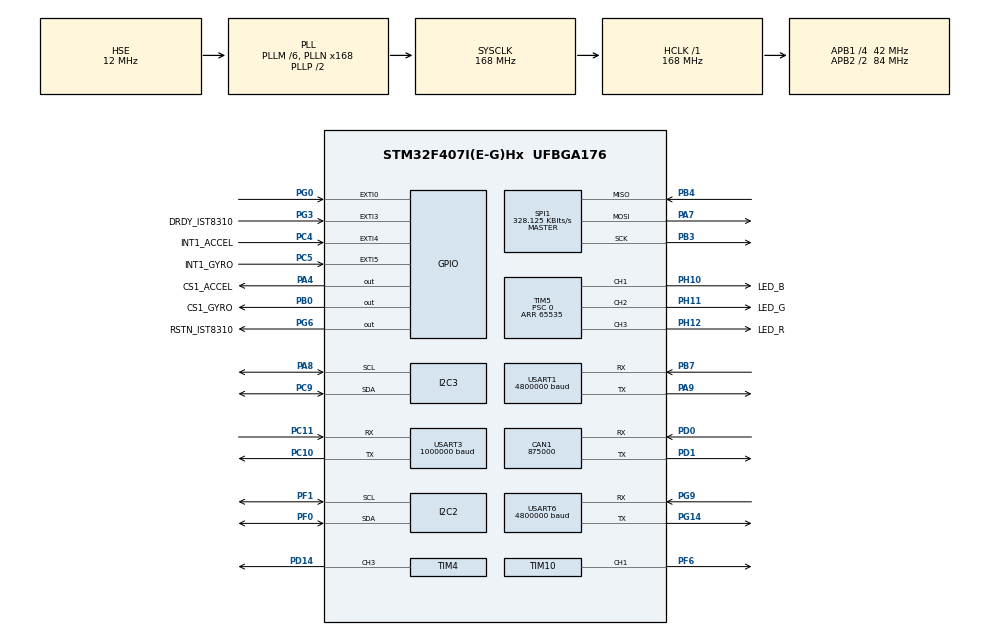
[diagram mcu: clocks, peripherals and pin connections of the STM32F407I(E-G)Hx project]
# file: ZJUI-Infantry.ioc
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CAN1.CalculateBaudRate=875000
CAN1.CalculateTimeBit=1142
CAN1.CalculateTimeQuantum=380.95238095238096
Dma.Request0=SPI1_RX
Dma.Request1=SPI1_TX
Dma.Request2=USART1_TX
Dma.Request3=USART1_RX
Dma.Request4=USART6_TX
Dma.Request5=USART6_RX
Dma.Request6=USART3_RX
Dma.SPI1_RX.0.Direction=DMA_PERIPH_TO_MEMORY
Dma.SPI1_RX.0.FIFOMode=DMA_FIFOMODE_DISABLE
Dma.SPI1_RX.0.Instance=DMA2_Stream2
Dma.SPI1_RX.0.MemDataAlignment=DMA_MDATAALIGN_BYTE
Dma.SPI1_RX.0.MemInc=DMA_MINC_ENABLE
Dma.SPI1_RX.0.Mode=DMA_NORMAL
Dma.SPI1_RX.0.PeriphDataAlignment=DMA_PDATAALIGN_BYTE
Dma.SPI1_RX.0.PeriphInc=DMA_PINC_DISABLE
Dma.SPI1_RX.0.Priority=DMA_PRIORITY_VERY_HIGH
Dma.SPI1_TX.1.Direction=DMA_MEMORY_TO_PERIPH
Dma.SPI1_TX.1.FIFOMode=DMA_FIFOMODE_DISABLE
Dma.SPI1_TX.1.Instance=DMA2_Stream3
Dma.SPI1_TX.1.MemDataAlignment=DMA_MDATAALIGN_BYTE
Dma.SPI1_TX.1.MemInc=DMA_MINC_ENABLE
Dma.SPI1_TX.1.Mode=DMA_NORMAL
Dma.SPI1_TX.1.PeriphDataAlignment=DMA_PDATAALIGN_BYTE
Dma.SPI1_TX.1.PeriphInc=DMA_PINC_DISABLE
Dma.SPI1_TX.1.Priority=DMA_PRIORITY_HIGH
Dma.USART1_RX.3.Direction=DMA_PERIPH_TO_MEMORY
Dma.USART1_RX.3.FIFOMode=DMA_FIFOMODE_DISABLE
Dma.USART1_RX.3.Instance=DMA2_Stream5
Dma.USART1_RX.3.MemDataAlignment=DMA_MDATAALIGN_BYTE
Dma.USART1_RX.3.MemInc=DMA_MINC_ENABLE
Dma.USART1_RX.3.Mode=DMA_NORMAL
Dma.USART1_RX.3.PeriphDataAlignment=DMA_PDATAALIGN_BYTE
Dma.USART1_RX.3.PeriphInc=DMA_PINC_DISABLE
Dma.USART1_RX.3.Priority=DMA_PRIORITY_VERY_HIGH
Dma.USART1_TX.2.Direction=DMA_MEMORY_TO_PERIPH
Dma.USART1_TX.2.FIFOMode=DMA_FIFOMODE_DISABLE
Dma.USART1_TX.2.Instance=DMA2_Stream7
Dma.USART1_TX.2.MemDataAlignment=DMA_MDATAALIGN_BYTE
Dma.USART1_TX.2.MemInc=DMA_MINC_ENABLE
Dma.USART1_TX.2.Mode=DMA_NORMAL
Dma.USART1_TX.2.PeriphDataAlignment=DMA_PDATAALIGN_BYTE
Dma.USART1_TX.2.PeriphInc=DMA_PINC_DISABLE
Dma.USART1_TX.2.Priority=DMA_PRIORITY_VERY_HIGH
Dma.USART3_RX.6.Direction=DMA_PERIPH_TO_MEMORY
Dma.USART3_RX.6.FIFOMode=DMA_FIFOMODE_DISABLE
Dma.USART3_RX.6.Instance=DMA1_Stream1
Dma.USART3_RX.6.MemDataAlignment=DMA_MDATAALIGN_BYTE
Dma.USART3_RX.6.MemInc=DMA_MINC_ENABLE
Dma.USART3_RX.6.Mode=DMA_NORMAL
Dma.USART3_RX.6.PeriphDataAlignment=DMA_PDATAALIGN_BYTE
Dma.USART3_RX.6.PeriphInc=DMA_PINC_DISABLE
Dma.USART3_RX.6.Priority=DMA_PRIORITY_VERY_HIGH
Dma.USART6_RX.5.Direction=DMA_PERIPH_TO_MEMORY
Dma.USART6_RX.5.FIFOMode=DMA_FIFOMODE_DISABLE
Dma.USART6_RX.5.Instance=DMA2_Stream1
Dma.USART6_RX.5.MemDataAlignment=DMA_MDATAALIGN_BYTE
Dma.USART6_RX.5.MemInc=DMA_MINC_ENABLE
Dma.USART6_RX.5.Mode=DMA_NORMAL
Dma.USART6_RX.5.PeriphDataAlignment=DMA_PDATAALIGN_BYTE
Dma.USART6_RX.5.PeriphInc=DMA_PINC_DISABLE
Dma.USART6_RX.5.Priority=DMA_PRIORITY_VERY_HIGH
Dma.USART6_TX.4.Direction=DMA_MEMORY_TO_PERIPH
Dma.USART6_TX.4.FIFOMode=DMA_FIFOMODE_DISABLE
Dma.USART6_TX.4.Instance=DMA2_Stream6
Dma.USART6_TX.4.MemDataAlignment=DMA_MDATAALIGN_BYTE
Dma.USART6_TX.4.MemInc=DMA_MINC_ENABLE
Dma.USART6_TX.4.Mode=DMA_NORMAL
Dma.USART6_TX.4.PeriphDataAlignment=DMA_PDATAALIGN_BYTE
Dma.USART6_TX.4.PeriphInc=DMA_PINC_DISABLE
Dma.USART6_TX.4.Priority=DMA_PRIORITY_VERY_HIGH
FREERTOS.INCLUDE_eTaskGetState=1
FREERTOS.INCLUDE_pcTaskGetTaskName=1
FREERTOS.INCLUDE_uxTaskGetStackHighWaterMark=1
FREERTOS.INCLUDE_vTaskCleanUpResources=1
FREERTOS.INCLUDE_vTaskDelayUntil=1
FREERTOS.INCLUDE_xEventGroupSetBitFromISR=1
FREERTOS.INCLUDE_xQueueGetMutexHolder=1
FREERTOS.INCLUDE_xSemaphoreGetMutexHolder=1
FREERTOS.INCLUDE_xTaskAbortDelay=1
FREERTOS.INCLUDE_xTaskGetCurrentTaskHandle=1
FREERTOS.INCLUDE_xTaskGetHandle=1
FREERTOS.INCLUDE_xTimerPendFunctionCall=1
FREERTOS.Tasks01=test,0,128,test_task,As weak,NULL,Dynamic,NULL,NULL;OLED,-3,128,OLED_task,Default,NULL,Dynamic,NULL,NULL;Motor_MI,-3,128,Motor_MI_task,Default,NULL,Dynamic,NULL,NULL;Motor_A1,-3,128,Motor_A1_task,Default,NULL,Dynamic,NULL,NULL
FREERTOS.configTOTAL_HEAP_SIZE=24576
I2C2.I2C_Mode=I2C_Fast
I2C3.I2C_Mode=I2C_Fast
Mcu.Family=STM32F4
Mcu.Name=STM32F407I(E-G)Hx
Mcu.Package=UFBGA176
NVIC.DMA1_Stream1_IRQn=true\:5\:0\:false\:false\:true\:true\:false\:true\:true
NVIC.DMA2_Stream1_IRQn=true\:5\:0\:false\:false\:true\:true\:false\:true\:true
NVIC.DMA2_Stream2_IRQn=true\:5\:0\:true\:false\:false\:true\:false\:true\:true
NVIC.DMA2_Stream3_IRQn=true\:5\:0\:true\:false\:false\:true\:false\:true\:true
NVIC.DMA2_Stream5_IRQn=true\:5\:0\:false\:false\:true\:true\:false\:true\:true
NVIC.DMA2_Stream6_IRQn=true\:5\:0\:false\:false\:true\:true\:false\:true\:true
NVIC.DMA2_Stream7_IRQn=true\:5\:0\:false\:false\:true\:true\:false\:true\:true
NVIC.EXTI0_IRQn=true\:6\:0\:true\:false\:true\:true\:true\:true\:true
NVIC.EXTI3_IRQn=true\:5\:0\:true\:false\:true\:true\:true\:true\:true
NVIC.EXTI4_IRQn=true\:5\:0\:true\:false\:true\:true\:true\:true\:true
NVIC.EXTI9_5_IRQn=true\:5\:0\:true\:false\:true\:true\:true\:true\:true
NVIC.PriorityGroup=NVIC_PRIORITYGROUP_4
NVIC.USART1_IRQn=true\:5\:0\:false\:false\:true\:true\:true\:true\:true
NVIC.USART6_IRQn=true\:5\:0\:false\:false\:true\:true\:true\:true\:true
PA13.Mode=Serial_Wire
PA13.Signal=SYS_JTMS-SWDIO
PA14.Mode=Serial_Wire
PA14.Signal=SYS_JTCK-SWCLK
PA4.GPIO_Label=CS1_ACCEL
PA4.GPIO_PuPd=GPIO_PULLUP
PA4.GPIO_Speed=GPIO_SPEED_FREQ_HIGH
PA4.PinState=GPIO_PIN_SET
PA4.Signal=GPIO_Output
PA7.GPIO_PuPd=GPIO_PULLUP
PA7.Mode=Full_Duplex_Master
PA7.Signal=SPI1_MOSI
PA8.GPIO_Pu=GPIO_PULLUP
PA8.Mode=I2C
PA8.Signal=I2C3_SCL
PA9.Mode=Asynchronous
PA9.Signal=USART1_TX
PB0.GPIO_Label=CS1_GYRO
PB0.GPIO_PuPd=GPIO_PULLUP
PB0.GPIO_Speed=GPIO_SPEED_FREQ_HIGH
PB0.PinState=GPIO_PIN_SET
PB0.Signal=GPIO_Output
PB3.GPIO_PuPd=GPIO_PULLUP
PB3.Mode=Full_Duplex_Master
PB3.Signal=SPI1_SCK
PB4.GPIO_PuPd=GPIO_PULLUP
PB4.Mode=Full_Duplex_Master
PB4.Signal=SPI1_MISO
PB7.Mode=Asynchronous
PB7.Signal=USART1_RX
PC10.Mode=Asynchronous
PC10.Signal=USART3_TX
PC11.Mode=Asynchronous
PC11.Signal=USART3_RX
PC4.GPIO_Label=INT1_ACCEL
PC4.GPIO_ModeDefaultEXTI=GPIO_MODE_IT_FALLING
PC4.GPIO_PuPd=GPIO_PULLUP
PC4.Signal=GPXTI4
PC5.GPIO_Label=INT1_GYRO
PC5.GPIO_ModeDefaultEXTI=GPIO_MODE_IT_FALLING
PC5.GPIO_PuPd=GPIO_PULLUP
PC5.Signal=GPXTI5
PC9.GPIO_Pu=GPIO_PULLUP
PC9.Mode=I2C
PC9.Signal=I2C3_SDA
PD0.Mode=CAN_Activate
PD0.Signal=CAN1_RX
PD1.Mode=CAN_Activate
PD1.Signal=CAN1_TX
PD14.Signal=S_TIM4_CH3
PF0.Mode=I2C
PF0.Signal=I2C2_SDA
PF1.Mode=I2C
PF1.Signal=I2C2_SCL
PF6.GPIO_PuPd=GPIO_PULLUP
PF6.GPIO_Speed=GPIO_SPEED_FREQ_HIGH
PF6.Signal=S_TIM10_CH1
PG0.GPIO_ModeDefaultEXTI=GPIO_MODE_IT_FALLING
PG0.GPIO_PuPd=GPIO_PULLUP
PG0.Signal=GPXTI0
PG14.Mode=Asynchronous
PG14.Signal=USART6_TX
PG3.GPIO_Label=DRDY_IST8310
PG3.GPIO_ModeDefaultEXTI=GPIO_MODE_IT_FALLING
PG3.GPIO_PuPd=GPIO_PULLUP
PG3.Signal=GPXTI3
PG6.GPIO_Label=RSTN_IST8310
PG6.GPIO_PuPd=GPIO_PULLUP
PG6.GPIO_Speed=GPIO_SPEED_FREQ_MEDIUM
PG6.PinState=GPIO_PIN_SET
PG6.Signal=GPIO_Output
PG9.Mode=Asynchronous
PG9.Signal=USART6_RX
PH0-OSC_IN.Mode=HSE-External-Oscillator
PH0-OSC_IN.Signal=RCC_OSC_IN
PH1-OSC_OUT.Mode=HSE-External-Oscillator
PH1-OSC_OUT.Signal=RCC_OSC_OUT
PH10.GPIO_Label=LED_B
PH10.GPIO_PuPd=GPIO_PULLUP
PH10.GPIO_Speed=GPIO_SPEED_FREQ_HIGH
PH10.Signal=S_TIM5_CH1
PH11.GPIO_Label=LED_G
PH11.GPIO_PuPd=GPIO_PULLUP
PH11.GPIO_Speed=GPIO_SPEED_FREQ_HIGH
PH11.Signal=S_TIM5_CH2
PH12.GPIO_Label=LED_R
PH12.GPIO_PuPd=GPIO_PULLUP
PH12.GPIO_Speed=GPIO_SPEED_FREQ_HIGH
PH12.Signal=S_TIM5_CH3
ProjectManager.HeapSize=0x2000
ProjectManager.StackSize=0x2000
ProjectManager.TargetToolchain=Makefile
RCC.48MHZClocksFreq_Value=48000000
RCC.AHBFreq_Value=168000000
RCC.APB1CLKDivider=RCC_HCLK_DIV4
RCC.APB1Freq_Value=42000000
RCC.APB1TimFreq_Value=84000000
RCC.APB2CLKDivider=RCC_HCLK_DIV2
RCC.APB2Freq_Value=84000000
RCC.APB2TimFreq_Value=168000000
RCC.CortexFreq_Value=168000000
RCC.HCLKFreq_Value=168000000
RCC.HSE_VALUE=12000000
RCC.HSI_VALUE=16000000
RCC.LSE_VALUE=32768
RCC.PLLM=6
RCC.PLLN=168
RCC.PLLQ=7
RCC.PLLSourceVirtual=RCC_PLLSOURCE_HSE
RCC.RCC_RTC_Clock_SourceVirtual=RCC_RTCCLKSOURCE_HSE_DIV30
RCC.RCC_RTC_Clock_Source_FROM_HSE=RCC_RTCCLKSOURCE_HSE_DIV30
RCC.SYSCLKFreq_VALUE=168000000
RCC.SYSCLKSource=RCC_SYSCLKSOURCE_PLLCLK
RCC.VCOOutputFreq_Value=336000000
SH.S_TIM10_CH1.0=TIM10_CH1,PWM Generation1 CH1
SH.S_TIM4_CH3.0=TIM4_CH3,PWM Generation3 CH3
SH.S_TIM5_CH1.0=TIM5_CH1,PWM Generation1 CH1
SH.S_TIM5_CH2.0=TIM5_CH2,PWM Generation2 CH2
SH.S_TIM5_CH3.0=TIM5_CH3,PWM Generation3 CH3
SPI1.BaudRatePrescaler=SPI_BAUDRATEPRESCALER_256
SPI1.CLKPhase=SPI_PHASE_2EDGE
SPI1.CLKPolarity=SPI_POLARITY_HIGH
SPI1.CalculateBaudRate=328.125 KBits/s
SPI1.Direction=SPI_DIRECTION_2LINES
SPI1.Mode=SPI_MODE_MASTER
SPI1.VirtualType=VM_MASTER
TIM10.Channel=TIM_CHANNEL_1
TIM10.Period=4999
TIM4.AutoReloadPreload=TIM_AUTORELOAD_PRELOAD_ENABLE
TIM4.Channel-PWM\ Generation3\ CH3=TIM_CHANNEL_3
TIM4.Period=21000
TIM4.Pulse-PWM\ Generation3\ CH3=10500
TIM5.Channel-PWM\ Generation1\ CH1=TIM_CHANNEL_1
TIM5.Channel-PWM\ Generation2\ CH2=TIM_CHANNEL_2
TIM5.Channel-PWM\ Generation3\ CH3=TIM_CHANNEL_3
TIM5.Period=65535
TIM5.Prescaler=0
USART1.BaudRate=4800000
USART1.VirtualMode=VM_ASYNC
USART3.BaudRate=1000000
USART3.Parity=PARITY_EVEN
USART3.VirtualMode=VM_ASYNC
USART6.BaudRate=4800000
USART6.VirtualMode=VM_ASYNC
VP_FREERTOS_VS_CMSIS_V1.Mode=CMSIS_V1
VP_TIM10_VS_ClockSourceINT.Mode=Enable_Timer
VP_TIM4_VS_ClockSourceINT.Mode=Internal
VP_TIM5_VS_ClockSourceINT.Mode=Internal
board=custom

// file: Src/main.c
/* USER CODE BEGIN Header */
/**
  ******************************************************************************
  * @file           : main.c
  * @brief          : Main program body
  ******************************************************************************
  * @attention
  *
  * <h2><center>&copy; Copyright (c) 2019 STMicroelectronics.
  * All rights reserved.</center></h2>
  *
  * This software component is licensed by ST under Ultimate Liberty license
  * SLA0044, the "License"; You may not use this file except in compliance with
  * the License. You may obtain a copy of the License at:
  *                             www.st.com/SLA0044
  *
  ******************************************************************************
  */
/* USER CODE END Header */
#include "main.h"
#include "cmsis_os.h"
#include "can.h"
#include "dma.h"
#include "i2c.h"
#include "spi.h"
#include "tim.h"
#include "usart.h"
#include "gpio.h"

/* USER CODE BEGIN Includes */
#include "bsp_delay.h"
#include "OLED.h"
#include "OLED_BMP.h"
#include "buzzer.h"
/* USER CODE END Includes */

void SystemClock_Config(void);
void MX_FREERTOS_Init(void);

int main(void)
{

  /* MCU Configuration--------------------------------------------------------*/

  /* Reset of all peripherals, Initializes the Flash interface and the Systick. */
  HAL_Init();

  /* Configure the system clock */
  SystemClock_Config();

  /* Initialize all configured peripherals */
  MX_GPIO_Init();
  MX_DMA_Init();
  MX_SPI1_Init();
  MX_TIM5_Init();
  MX_I2C3_Init();
  MX_TIM10_Init();
  MX_I2C2_Init();
  MX_TIM4_Init();
  MX_USART1_UART_Init();
  MX_USART6_UART_Init();
  MX_USART3_UART_Init();
  MX_CAN1_Init();
  /* USER CODE BEGIN 2 */
    // 自定义初始化
    // delay_init();
    // OLED_init();
    // OLED_clear();
    // OLED_showBMP_gram(BMP_GENSHIN_GRAM);
    // OLED_refresh_gram();
    // HAL_Delay(500);
    // OLED_showBMP_gram(BMP_BLANK_GRAM);
    // Buzzer_start(); // 蜂鸣器

  /* USER CODE END 2 */

  /* Call init function for freertos objects (in freertos.c) */
  MX_FREERTOS_Init();

  /* Start scheduler */
  osKernelStart();

  /* We should never get here as control is now taken by the scheduler */
  /* Infinite loop */
  while (1)
  {

  }
}

void SystemClock_Config(void)
{
  RCC_OscInitTypeDef RCC_OscInitStruct = {0};
  RCC_ClkInitTypeDef RCC_ClkInitStruct = {0};

  /** Configure the main internal regulator output voltage
  */
  __HAL_RCC_PWR_CLK_ENABLE();
  __HAL_PWR_VOLTAGESCALING_CONFIG(PWR_REGULATOR_VOLTAGE_SCALE1);

  /** Initializes the RCC Oscillators according to the specified parameters
  * in the RCC_OscInitTypeDef structure.
  */
  RCC_OscInitStruct.OscillatorType = RCC_OSCILLATORTYPE_HSE;
  RCC_OscInitStruct.HSEState = RCC_HSE_ON;
  RCC_OscInitStruct.PLL.PLLState = RCC_PLL_ON;
  RCC_OscInitStruct.PLL.PLLSource = RCC_PLLSOURCE_HSE;
  RCC_OscInitStruct.PLL.PLLM = 6;
  RCC_OscInitStruct.PLL.PLLN = 168;
  RCC_OscInitStruct.PLL.PLLP = RCC_PLLP_DIV2;
  RCC_OscInitStruct.PLL.PLLQ = 7;
  if (HAL_RCC_OscConfig(&RCC_OscInitStruct) != HAL_OK)
  {
    Error_Handler();
  }

  /** Initializes the CPU, AHB and APB buses clocks
  */
  RCC_ClkInitStruct.ClockType = RCC_CLOCKTYPE_HCLK|RCC_CLOCKTYPE_SYSCLK
                              |RCC_CLOCKTYPE_PCLK1|RCC_CLOCKTYPE_PCLK2;
  RCC_ClkInitStruct.SYSCLKSource = RCC_SYSCLKSOURCE_PLLCLK;
  RCC_ClkInitStruct.AHBCLKDivider = RCC_SYSCLK_DIV1;
  RCC_ClkInitStruct.APB1CLKDivider = RCC_HCLK_DIV4;
  RCC_ClkInitStruct.APB2CLKDivider = RCC_HCLK_DIV2;

  if (HAL_RCC_ClockConfig(&RCC_ClkInitStruct, FLASH_LATENCY_5) != HAL_OK)
  {
    Error_Handler();
  }
}

void Error_Handler(void)
{
}

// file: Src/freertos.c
/* USER CODE BEGIN Header */
/**
  ******************************************************************************
  * File Name          : freertos.c
  * Description        : Code for freertos applications
  ******************************************************************************
  * @attention
  *
  * <h2><center>&copy; Copyright (c) 2019 STMicroelectronics.
  * All rights reserved.</center></h2>
  *
  * This software component is licensed by ST under Ultimate Liberty license
  * SLA0044, the "License"; You may not use this file except in compliance with
  * the License. You may obtain a copy of the License at:
  *                             www.st.com/SLA0044
  *
  ******************************************************************************
  */
/* USER CODE END Header */

#include "FreeRTOS.h"
#include "task.h"
#include "main.h"
#include "cmsis_os.h"

/* USER CODE BEGIN Includes */
#include <string.h>
#include "INS_task.h"
#include "OLED.h"
// #include "remote_control.h"
// #include "bsp_usart.h"
// #include "bsp_rc.h"
#include "can.h"
#include "can_test.h"
#include "MI_motor_drive.h"
#include "unitreeA1_cmd.h"
#include "joint.h"

/* USER CODE END Includes */

/* USER CODE BEGIN PTD */

osThreadId imuTaskHandle;
osThreadId led_RGB_flow_handle;
/* USER CODE END PTD */

/* USER CODE BEGIN PD */
#define PI 3.1415926f
#define DRG 180/PI
/* USER CODE END PD */

/* USER CODE BEGIN Variables */
extern fp32 INS_angle[3]; // 陀螺仪角度
extern fp32 temp;         // BMI088温度

/* USER CODE END Variables */
osThreadId testHandle;
osThreadId OLEDHandle;
osThreadId Motor_MIHandle;
osThreadId Motor_A1Handle;

void test_task(void const * argument);
void OLED_task(void const * argument);
void Motor_MI_task(void const * argument);
void Motor_A1_task(void const * argument);

void MX_FREERTOS_Init(void); /* (MISRA C 2004 rule 8.1) */

/* GetIdleTaskMemory prototype (linked to static allocation support) */
void vApplicationGetIdleTaskMemory( StaticTask_t **ppxIdleTaskTCBBuffer, StackType_t **ppxIdleTaskStackBuffer, uint32_t *pulIdleTaskStackSize );

/* GetTimerTaskMemory prototype (linked to static allocation support) */
void vApplicationGetTimerTaskMemory( StaticTask_t **ppxTimerTaskTCBBuffer, StackType_t **ppxTimerTaskStackBuffer, uint32_t *pulTimerTaskStackSize );

/* USER CODE BEGIN GET_IDLE_TASK_MEMORY */
static StaticTask_t xIdleTaskTCBBuffer;
static StackType_t xIdleStack[configMINIMAL_STACK_SIZE];

void vApplicationGetIdleTaskMemory( StaticTask_t **ppxIdleTaskTCBBuffer, StackType_t **ppxIdleTaskStackBuffer, uint32_t *pulIdleTaskStackSize )
{
  *ppxIdleTaskTCBBuffer = &xIdleTaskTCBBuffer;
  *ppxIdleTaskStackBuffer = &xIdleStack[0];
  *pulIdleTaskStackSize = configMINIMAL_STACK_SIZE;
  /* place for user code */
}
/* USER CODE END GET_IDLE_TASK_MEMORY */

/* USER CODE BEGIN GET_TIMER_TASK_MEMORY */
static StaticTask_t xTimerTaskTCBBuffer;
static StackType_t xTimerStack[configTIMER_TASK_STACK_DEPTH];

void vApplicationGetTimerTaskMemory( StaticTask_t **ppxTimerTaskTCBBuffer, StackType_t **ppxTimerTaskStackBuffer, uint32_t *pulTimerTaskStackSize )
{
  *ppxTimerTaskTCBBuffer = &xTimerTaskTCBBuffer;
  *ppxTimerTaskStackBuffer = &xTimerStack[0];
  *pulTimerTaskStackSize = configTIMER_TASK_STACK_DEPTH;
  /* place for user code */
}
/* USER CODE END GET_TIMER_TASK_MEMORY */

void MX_FREERTOS_Init(void) {

  /* Create the thread(s) */
  /* definition and creation of test */
  osThreadDef(test, test_task, osPriorityNormal, 0, 128);
  testHandle = osThreadCreate(osThread(test), NULL);

  /* definition and creation of OLED */
  osThreadDef(OLED, OLED_task, osPriorityIdle, 0, 128);
  OLEDHandle = osThreadCreate(osThread(OLED), NULL);

  /* definition and creation of Motor_MI */
  osThreadDef(Motor_MI, Motor_MI_task, osPriorityIdle, 0, 128);
  Motor_MIHandle = osThreadCreate(osThread(Motor_MI), NULL);

  /* definition and creation of Motor_A1 */
  osThreadDef(Motor_A1, Motor_A1_task, osPriorityIdle, 0, 128);
  Motor_A1Handle = osThreadCreate(osThread(Motor_A1), NULL);

  /* USER CODE BEGIN RTOS_THREADS */
  /* add threads, ... */
  // 这里是官方手写的 FreeRTOS 线程，.ioc不显示这些任务
    osThreadDef(imuTask, INS_task, osPriorityRealtime, 0, 1024);
    imuTaskHandle = osThreadCreate(osThread(imuTask), NULL);

  /* USER CODE END RTOS_THREADS */

}

__weak void test_task(void const * argument)
{
  /* USER CODE BEGIN test_task */

  /* Infinite loop */
  for(;;)
  {
    // 测试任务，目前什么东西都没有
    // 官方写了一个test_task，这里的weak void不会进入
    osDelay(1);
  }
  /* USER CODE END test_task */
}

void OLED_task(void const * argument)
{
  /* USER CODE BEGIN OLED_task */
  OLED_show_string(0,0,"Yaw   = ");
  OLED_show_string(1,0,"Pitch = ");
  OLED_show_string(2,0,"Roll  = ");
  OLED_refresh_gram();
  /* Infinite loop */
  for(;;)
  {
    OLED_show_signednum(0,9,INS_angle[0]*DRG,5);
    OLED_show_signednum(1,9,INS_angle[1]*DRG,5);
    OLED_show_signednum(2,9,INS_angle[2]*DRG,5);
    OLED_refresh_gram();
    osDelay(1);
  }
  /* USER CODE END OLED_task */
}

void Motor_MI_task(void const * argument)
{
  for(;;)
  {
    osDelay(1);
  }
}

void Motor_A1_task(void const * argument)
{
  for(;;)
  {
    osDelay(1);
  }
}
